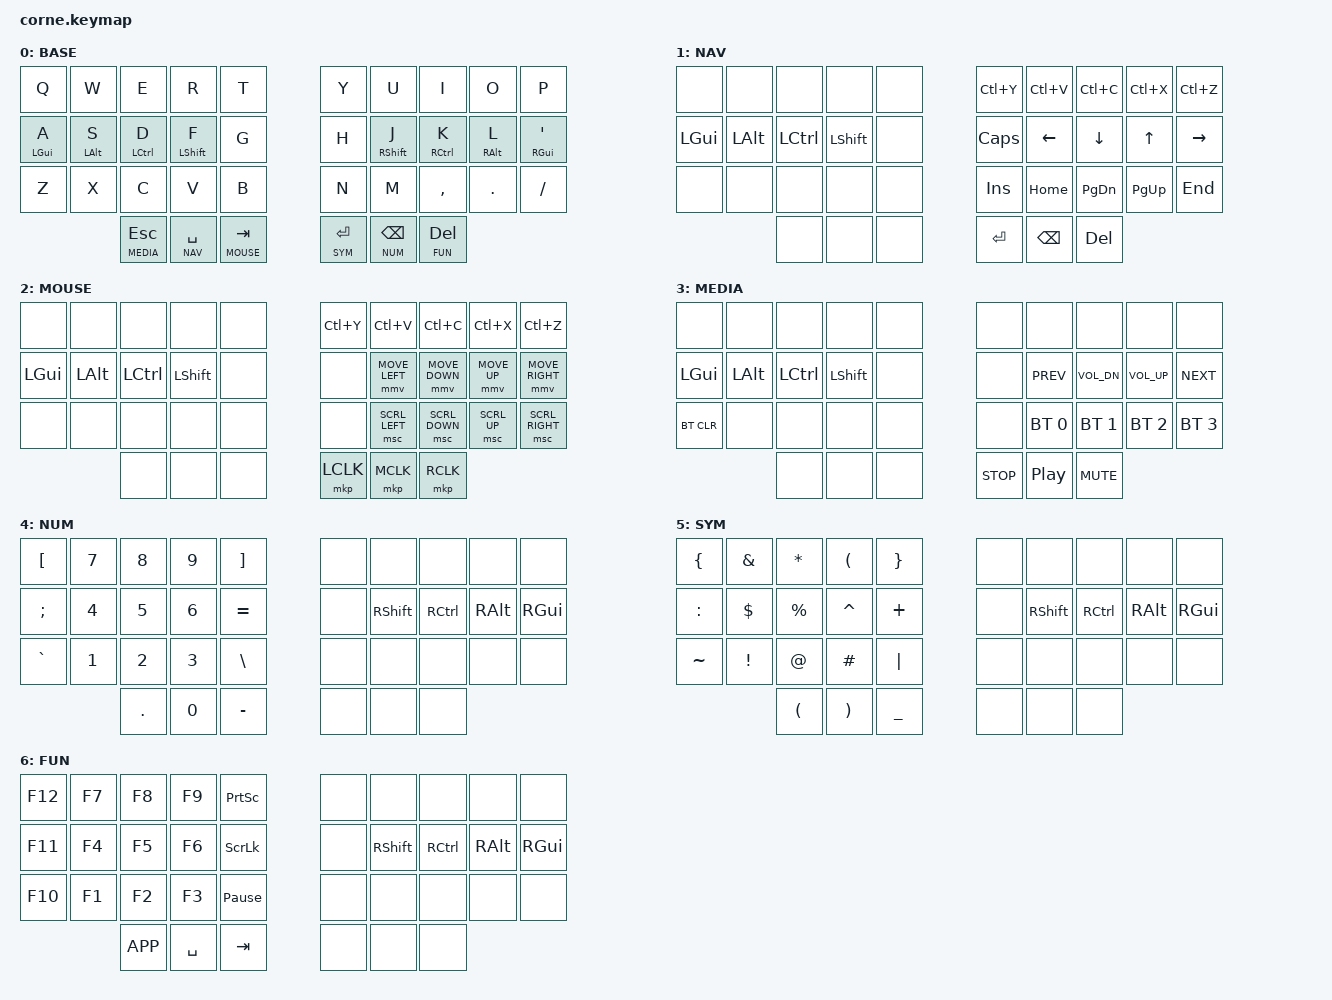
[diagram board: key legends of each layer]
/*
 * Miryoku QWERTY layout for 36-key Corne (ZMK)
 *
 * Based on Manna Harbour's Miryoku layout:
 * https://github.com/manna-harbour/miryoku
 *
 * Layers:
 *   0 BASE  – QWERTY + home row mods (GACS)
 *   1 NAV   – navigation (left thumb SPC hold)
 *   2 MOUSE – mouse (left thumb TAB hold)
 *   3 MEDIA – media + bluetooth (left thumb ESC hold)
 *   4 NUM   – numpad (right thumb BSPC hold)
 *   5 SYM   – symbols (right thumb ENT hold)
 *   6 FUN   – function keys (right thumb DEL hold)
 *
 * Thumb cluster (outer -> inner reading order as in the keymap):
 *   Left  : ESC/MEDIA | SPC/NAV  | TAB/MOUSE
 *   Right : ENT/SYM   | BSPC/NUM | DEL/FUN
 *
 * Home row mods (tap = letter, hold = modifier):
 *   Left  A=GUI  S=ALT  D=CTRL  F=SHFT
 *   Right J=SHFT K=CTRL L=ALT   '=GUI
 *
 * Requires CONFIG_ZMK_POINTING=y in config/corne.conf for the MOUSE layer.
 */

#include <behaviors.dtsi>
#include <dt-bindings/zmk/bt.h>
#include <dt-bindings/zmk/keys.h>
#include <dt-bindings/zmk/pointing.h>

/* Layer indices */

#define BASE  0
#define NAV   1
#define MOUSE 2
#define MEDIA 3
#define NUM   4
#define SYM   5
#define FUN   6

/ {
    behaviors {
        /* Home-row mod: tap-preferred, 280 ms term */
        hm: homerow_mod {
            compatible = "zmk,behavior-hold-tap";
            label = "HOMEROW_MOD";
            #binding-cells = <2>;
            flavor = "tap-preferred";
            tapping-term-ms = <280>;
            quick-tap-ms = <175>;
            require-prior-idle-ms = <150>;
            bindings = <&kp>, <&kp>;
        };

        /* Layer-tap for thumbs */
        lt_tp: layer_tap_thumb {
            compatible = "zmk,behavior-hold-tap";
            label = "LAYER_TAP_THUMB";
            #binding-cells = <2>;
            flavor = "balanced";
            tapping-term-ms = <200>;
            quick-tap-ms = <175>;
            bindings = <&mo>, <&kp>;
        };
    };

    keymap {
        compatible = "zmk,keymap";

        /* ---------------- 0 – BASE ---------------- */
        base_layer {
            label = "BASE";
            bindings = <
&kp Q       &kp W       &kp E        &kp R        &kp T       &kp Y       &kp U        &kp I        &kp O       &kp P
&hm LGUI A  &hm LALT S  &hm LCTRL D  &hm LSHFT F  &kp G       &kp H       &hm RSHFT J  &hm RCTRL K  &hm RALT L  &hm RGUI SQT
&kp Z       &kp X       &kp C        &kp V        &kp B       &kp N       &kp M        &kp COMMA    &kp DOT     &kp FSLH
                        &lt_tp MEDIA ESC  &lt_tp NAV SPACE  &lt_tp MOUSE TAB    &lt_tp SYM RET  &lt_tp NUM BSPC  &lt_tp FUN DEL
            >;
        };

        /* ---------------- 1 – NAV ---------------- */
        nav_layer {
            label = "NAV";
            bindings = <
&none      &none      &none       &none       &none      &kp LC(Y)  &kp LC(V)  &kp LC(C)  &kp LC(X)  &kp LC(Z)
&kp LGUI   &kp LALT   &kp LCTRL   &kp LSHFT   &none      &kp CAPS   &kp LEFT   &kp DOWN   &kp UP     &kp RIGHT
&none      &none      &none       &none       &none      &kp INS    &kp HOME   &kp PG_DN  &kp PG_UP  &kp END
                                  &none       &none      &none      &kp RET    &kp BSPC   &kp DEL
            >;
        };

        /* ---------------- 2 – MOUSE ---------------- */
        mouse_layer {
            label = "MOUSE";
            bindings = <
&none      &none      &none       &none       &none      &kp LC(Y)  &kp LC(V)       &kp LC(C)       &kp LC(X)     &kp LC(Z)
&kp LGUI   &kp LALT   &kp LCTRL   &kp LSHFT   &none      &none      &mmv MOVE_LEFT  &mmv MOVE_DOWN  &mmv MOVE_UP  &mmv MOVE_RIGHT
&none      &none      &none       &none       &none      &none      &msc SCRL_LEFT  &msc SCRL_DOWN  &msc SCRL_UP  &msc SCRL_RIGHT
                                  &none       &none      &none      &mkp LCLK       &mkp MCLK       &mkp RCLK 
            >;
        };

        /* ---------------- 3 – MEDIA ---------------- */
        media_layer {
            label = "MEDIA";
            bindings = <
&none      &none      &none       &none       &none      &none      &none          &none          &none          &none
&kp LGUI   &kp LALT   &kp LCTRL   &kp LSHFT   &none      &none      &kp C_PREV     &kp C_VOL_DN   &kp C_VOL_UP   &kp C_NEXT
&bt BT_CLR &none      &none       &none       &none      &none      &bt BT_SEL 0   &bt BT_SEL 1   &bt BT_SEL 2   &bt BT_SEL 3
                                  &none       &none      &none      &kp C_STOP     &kp C_PP       &kp C_MUTE
            >;
        };

        /* ---------------- 4 – NUM ---------------- */
        num_layer {
            label = "NUM";
            bindings = <
&kp LBKT   &kp N7     &kp N8      &kp N9      &kp RBKT   &none      &none       &none       &none      &none
&kp SEMI   &kp N4     &kp N5      &kp N6      &kp EQUAL  &none      &kp RSHFT   &kp RCTRL   &kp RALT   &kp RGUI
&kp GRAVE  &kp N1     &kp N2      &kp N3      &kp BSLH   &none      &none       &none       &none      &none
                                  &kp DOT     &kp N0     &kp MINUS  &none       &none       &none
            >;
        };

        /* ---------------- 5 – SYM ---------------- */
        sym_layer {
            label = "SYM";
            bindings = <
&kp LBRC   &kp AMPS   &kp ASTRK   &kp LPAR    &kp RBRC   &none      &none       &none       &none      &none
&kp COLON  &kp DLLR   &kp PRCNT   &kp CARET   &kp PLUS   &none      &kp RSHFT   &kp RCTRL   &kp RALT   &kp RGUI
&kp TILDE  &kp EXCL   &kp AT      &kp HASH    &kp PIPE   &none      &none       &none       &none      &none
                                  &kp LPAR    &kp RPAR   &kp UNDER  &none       &none       &none
            >;
        };

        /* ---------------- 6 – FUN ---------------- */
        fun_layer {
            label = "FUN";
            bindings = <
&kp F12    &kp F7     &kp F8      &kp F9      &kp PSCRN         &none      &none       &none       &none      &none
&kp F11    &kp F4     &kp F5      &kp F6      &kp SLCK          &none      &kp RSHFT   &kp RCTRL   &kp RALT   &kp RGUI
&kp F10    &kp F1     &kp F2      &kp F3      &kp PAUSE_BREAK   &none      &none       &none       &none      &none
                                  &kp K_APP   &kp SPACE         &kp TAB    &none       &none       &none
            >;
        };
    };
};
